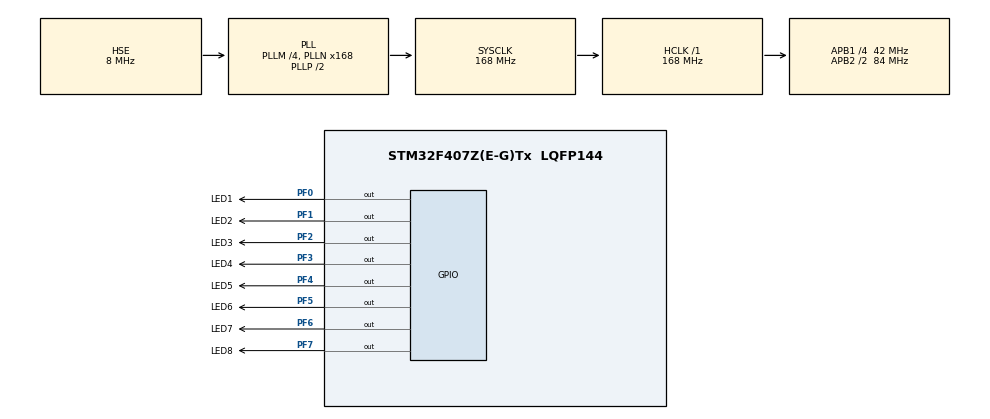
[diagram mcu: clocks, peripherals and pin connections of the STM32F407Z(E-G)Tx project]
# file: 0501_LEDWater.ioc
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Mcu.Family=STM32F4
Mcu.Name=STM32F407Z(E-G)Tx
Mcu.Package=LQFP144
NVIC.PriorityGroup=NVIC_PRIORITYGROUP_4
PA13.Mode=Serial_Wire
PA13.Signal=SYS_JTMS-SWDIO
PA14.Mode=Serial_Wire
PA14.Signal=SYS_JTCK-SWCLK
PF0.GPIO_Label=LED1
PF0.PinState=GPIO_PIN_SET
PF0.Signal=GPIO_Output
PF1.GPIO_Label=LED2
PF1.PinState=GPIO_PIN_SET
PF1.Signal=GPIO_Output
PF2.GPIO_Label=LED3
PF2.PinState=GPIO_PIN_SET
PF2.Signal=GPIO_Output
PF3.GPIO_Label=LED4
PF3.PinState=GPIO_PIN_SET
PF3.Signal=GPIO_Output
PF4.GPIO_Label=LED5
PF4.PinState=GPIO_PIN_SET
PF4.Signal=GPIO_Output
PF5.GPIO_Label=LED6
PF5.PinState=GPIO_PIN_SET
PF5.Signal=GPIO_Output
PF6.GPIO_Label=LED7
PF6.PinState=GPIO_PIN_SET
PF6.Signal=GPIO_Output
PF7.GPIO_Label=LED8
PF7.PinState=GPIO_PIN_SET
PF7.Signal=GPIO_Output
PH0-OSC_IN.Mode=HSE-External-Oscillator
PH0-OSC_IN.Signal=RCC_OSC_IN
PH1-OSC_OUT.Mode=HSE-External-Oscillator
PH1-OSC_OUT.Signal=RCC_OSC_OUT
ProjectManager.HeapSize=0x200
ProjectManager.StackSize=0x400
ProjectManager.TargetToolchain=MDK-ARM V5.32
RCC.48MHZClocksFreq_Value=84000000
RCC.AHBFreq_Value=168000000
RCC.APB1CLKDivider=RCC_HCLK_DIV4
RCC.APB1Freq_Value=42000000
RCC.APB1TimFreq_Value=84000000
RCC.APB2CLKDivider=RCC_HCLK_DIV2
RCC.APB2Freq_Value=84000000
RCC.APB2TimFreq_Value=168000000
RCC.CortexFreq_Value=168000000
RCC.HCLKFreq_Value=168000000
RCC.HSE_VALUE=8000000
RCC.HSI_VALUE=16000000
RCC.LSE_VALUE=32768
RCC.PLLM=4
RCC.PLLN=168
RCC.PLLSourceVirtual=RCC_PLLSOURCE_HSE
RCC.SYSCLKFreq_VALUE=168000000
RCC.SYSCLKSource=RCC_SYSCLKSOURCE_PLLCLK
RCC.VCOOutputFreq_Value=336000000
board=custom

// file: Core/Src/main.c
/* USER CODE BEGIN Header */
/**
  ******************************************************************************
  * @file           : main.c
  * @brief          : Main program body
  ******************************************************************************
  * @attention
  *
  * Copyright (c) 2026 STMicroelectronics.
  * All rights reserved.
  *
  * This software is licensed under terms that can be found in the LICENSE file
  * in the root directory of this software component.
  * If no LICENSE file comes with this software, it is provided AS-IS.
  *
  ******************************************************************************
  */
/* USER CODE END Header */
#include "main.h"
#include "gpio.h"

/* USER CODE BEGIN PV */
// LED
typedef struct {
    GPIO_TypeDef* GPIO_Port;
    uint16_t GPIO_Pin;
} LED_TypeDef;

// PF0  PF7
LED_TypeDef leds[8] = {
    {GPIOF, GPIO_PIN_0}, // LED1
    {GPIOF, GPIO_PIN_1}, // LED2
    {GPIOF, GPIO_PIN_2}, // LED3
    {GPIOF, GPIO_PIN_3}, // LED4
    {GPIOF, GPIO_PIN_4}, // LED5
    {GPIOF, GPIO_PIN_5}, // LED6
    {GPIOF, GPIO_PIN_6}, // LED7
    {GPIOF, GPIO_PIN_7}  // LED8
};
/* USER CODE END PV */

void SystemClock_Config(void);

/* USER CODE BEGIN 0 */
/**
 * @brief ????LED (PF0~PF7?????)
 */
void All_LED_Off(void)
{
    //
    HAL_GPIO_WritePin(GPIOF, GPIO_PIN_0 | GPIO_PIN_1 | GPIO_PIN_2 | GPIO_PIN_3 |
                             GPIO_PIN_4 | GPIO_PIN_5 | GPIO_PIN_6 | GPIO_PIN_7, GPIO_PIN_SET);
}

/**
 * @brief  N ? LED
 * @param index  0~7, LED1~LED8
 */
void Light_One_LED(uint8_t index)
{
    if(index < 8) {
        // (RESET)
        HAL_GPIO_WritePin(leds[index].GPIO_Port, leds[index].GPIO_Pin, GPIO_PIN_RESET);
    }
}
/* USER CODE END 0 */

int main(void)
{

  /* MCU Configuration--------------------------------------------------------*/

  /* Reset of all peripherals, Initializes the Flash interface and the Systick. */
  HAL_Init();

  /* Configure the system clock */
  SystemClock_Config();

  /* Initialize all configured peripherals */
  MX_GPIO_Init();

  /* Infinite loop */
   /* USER CODE BEGIN WHILE */

  uint8_t current_led = 0;       // LED
  uint32_t last_time = 0;        //

  // ???:???????
  All_LED_Off();

  while (1)
  {
    /* USER CODE END WHILE */
    /* USER CODE BEGIN 3 */

    uint32_t now_time = HAL_GetTick();

    if (now_time - last_time >= 500)
    {
        last_time = now_time;

        All_LED_Off();
        Light_One_LED(current_led);

        // 4. ???? (??????? 0~7 ???)
        current_led++;
        if (current_led >= 8) {
            current_led = 0;
        }
    }

  }
  /* USER CODE END 3 */
}

void SystemClock_Config(void)
{
  RCC_OscInitTypeDef RCC_OscInitStruct = {0};
  RCC_ClkInitTypeDef RCC_ClkInitStruct = {0};

  /** Configure the main internal regulator output voltage
  */
  __HAL_RCC_PWR_CLK_ENABLE();
  __HAL_PWR_VOLTAGESCALING_CONFIG(PWR_REGULATOR_VOLTAGE_SCALE1);

  /** Initializes the RCC Oscillators according to the specified parameters
  * in the RCC_OscInitTypeDef structure.
  */
  RCC_OscInitStruct.OscillatorType = RCC_OSCILLATORTYPE_HSE;
  RCC_OscInitStruct.HSEState = RCC_HSE_ON;
  RCC_OscInitStruct.PLL.PLLState = RCC_PLL_ON;
  RCC_OscInitStruct.PLL.PLLSource = RCC_PLLSOURCE_HSE;
  RCC_OscInitStruct.PLL.PLLM = 4;
  RCC_OscInitStruct.PLL.PLLN = 168;
  RCC_OscInitStruct.PLL.PLLP = RCC_PLLP_DIV2;
  RCC_OscInitStruct.PLL.PLLQ = 4;
  if (HAL_RCC_OscConfig(&RCC_OscInitStruct) != HAL_OK)
  {
    Error_Handler();
  }

  /** Initializes the CPU, AHB and APB buses clocks
  */
  RCC_ClkInitStruct.ClockType = RCC_CLOCKTYPE_HCLK|RCC_CLOCKTYPE_SYSCLK
                              |RCC_CLOCKTYPE_PCLK1|RCC_CLOCKTYPE_PCLK2;
  RCC_ClkInitStruct.SYSCLKSource = RCC_SYSCLKSOURCE_PLLCLK;
  RCC_ClkInitStruct.AHBCLKDivider = RCC_SYSCLK_DIV1;
  RCC_ClkInitStruct.APB1CLKDivider = RCC_HCLK_DIV4;
  RCC_ClkInitStruct.APB2CLKDivider = RCC_HCLK_DIV2;

  if (HAL_RCC_ClockConfig(&RCC_ClkInitStruct, FLASH_LATENCY_5) != HAL_OK)
  {
    Error_Handler();
  }
}

void Error_Handler(void)
{
  __disable_irq();
  while (1)
  {
  }
}
